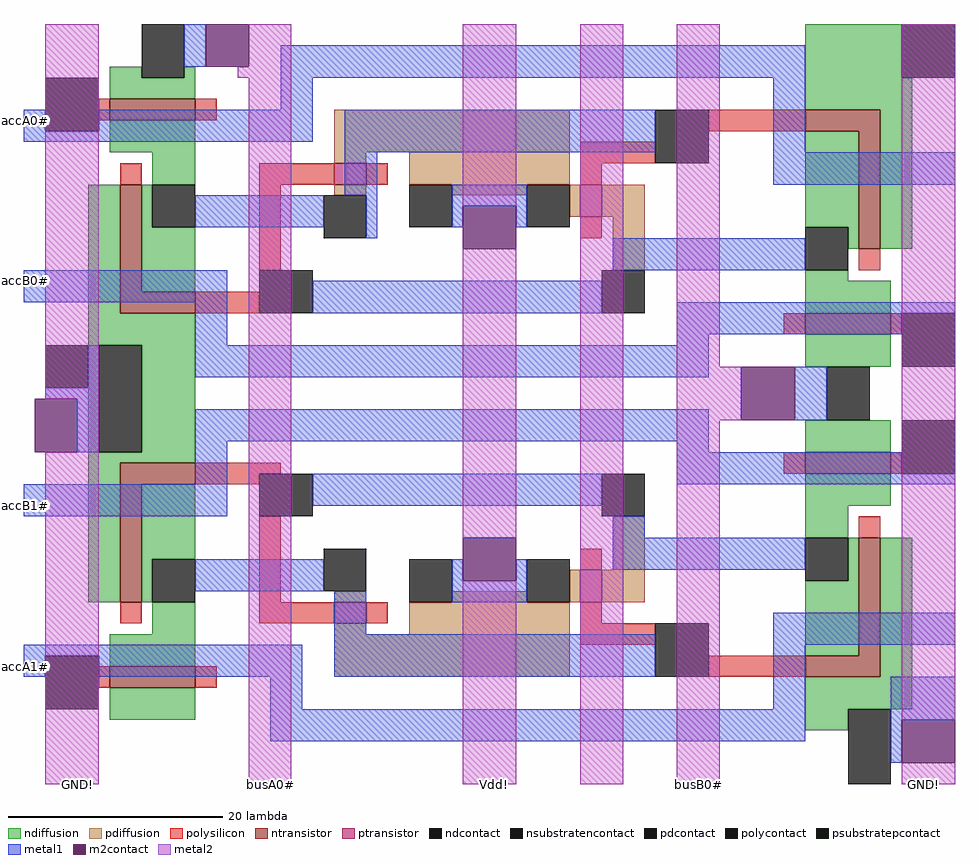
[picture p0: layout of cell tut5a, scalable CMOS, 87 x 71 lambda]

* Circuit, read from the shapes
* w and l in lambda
.subckt tut5a GND! Vdd! accA0# accA1# accB0# accB1# busA0# busB0#
M1 n1 accA1# n2 GND! nfet w=8 l=2
M2 busA0# accA0# n3 GND! nfet w=8 l=2
M3 GND! n4 n1 GND! nfet w=18 l=2
M4 GND! n5 n3 GND! nfet w=17 l=2
M5 GND! n1 n4 GND! nfet w=18 l=2
M6 busB0# accB1# n4 GND! nfet w=8 l=2
M7 n5 accB0# busB0# GND! nfet w=8 l=2
M8 GND! n3 n5 GND! nfet w=18 l=2
M9 n1 n4 Vdd! Vdd! pfet w=3 l=2
M10 Vdd! n5 n3 Vdd! pfet w=3 l=2
M11 n4 n1 Vdd! Vdd! pfet w=3 l=2
M12 n5 n3 Vdd! Vdd! pfet w=3 l=2
.ends

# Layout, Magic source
magic
tech scmos
<< polysilicon >>
rect 97 -18 98 -16
rect 106 -18 108 -16
rect 99 -24 101 -22
rect 112 -24 119 -22
rect 122 -24 124 -22
rect 142 -22 149 -20
rect 154 -19 163 -17
rect 142 -24 144 -22
rect 112 -32 114 -24
rect 142 -29 144 -27
rect 106 -36 112 -34
rect 168 -32 170 -30
rect 161 -38 163 -36
rect 171 -38 172 -36
rect 106 -51 114 -50
rect 161 -51 163 -49
rect 171 -51 172 -49
rect 106 -52 112 -51
rect 99 -65 101 -63
rect 112 -63 114 -55
rect 142 -60 144 -58
rect 168 -57 170 -55
rect 112 -65 119 -63
rect 122 -65 124 -63
rect 97 -71 98 -69
rect 106 -71 108 -69
rect 142 -65 144 -63
rect 142 -67 149 -65
rect 154 -70 163 -68
<< ndiffusion >>
rect 98 -14 101 -13
rect 105 -14 106 -13
rect 98 -16 106 -14
rect 163 -14 172 -9
rect 163 -17 173 -14
rect 98 -21 106 -18
rect 102 -24 106 -21
rect 96 -36 99 -24
rect 101 -28 102 -24
rect 101 -34 106 -28
rect 163 -28 168 -19
rect 167 -30 168 -28
rect 170 -30 173 -17
rect 163 -33 167 -32
rect 163 -36 171 -33
rect 96 -39 106 -36
rect 96 -49 97 -39
rect 101 -49 106 -39
rect 163 -41 171 -38
rect 163 -49 171 -46
rect 96 -50 106 -49
rect 96 -63 99 -50
rect 101 -59 106 -52
rect 101 -63 102 -59
rect 102 -66 106 -63
rect 163 -54 171 -51
rect 163 -57 167 -54
rect 167 -61 168 -57
rect 98 -69 106 -66
rect 163 -68 168 -61
rect 170 -70 173 -57
rect 98 -74 106 -71
rect 163 -73 173 -70
rect 163 -75 167 -73
<< pdiffusion >>
rect 119 -21 141 -17
rect 119 -22 122 -21
rect 126 -24 141 -21
rect 119 -25 122 -24
rect 130 -25 137 -24
rect 141 -27 142 -24
rect 144 -27 148 -24
rect 145 -32 148 -27
rect 119 -63 122 -62
rect 130 -63 137 -62
rect 145 -60 148 -55
rect 141 -63 142 -60
rect 144 -63 148 -60
rect 119 -66 122 -65
rect 126 -66 141 -63
rect 119 -70 141 -66
<< metal1 >>
rect 105 -13 107 -9
rect 114 -14 163 -11
rect 90 -19 92 -17
rect 114 -17 117 -14
rect 97 -19 117 -17
rect 90 -20 117 -19
rect 120 -21 149 -17
rect 120 -25 123 -21
rect 160 -21 163 -14
rect 160 -24 177 -21
rect 106 -28 118 -25
rect 122 -29 123 -25
rect 130 -26 137 -24
rect 130 -28 131 -26
rect 136 -28 137 -26
rect 145 -32 163 -29
rect 90 -35 109 -32
rect 106 -39 109 -35
rect 117 -36 144 -33
rect 151 -36 177 -35
rect 151 -38 172 -36
rect 151 -39 154 -38
rect 96 -43 97 -39
rect 92 -44 97 -43
rect 95 -49 97 -44
rect 106 -42 154 -39
rect 106 -48 154 -45
rect 162 -46 165 -41
rect 106 -52 109 -48
rect 151 -49 154 -48
rect 151 -51 172 -49
rect 90 -55 109 -52
rect 117 -54 144 -51
rect 151 -52 177 -51
rect 145 -57 148 -55
rect 106 -62 118 -59
rect 119 -66 122 -62
rect 130 -61 131 -59
rect 136 -61 137 -59
rect 130 -63 137 -61
rect 145 -60 163 -57
rect 90 -68 116 -67
rect 90 -70 92 -68
rect 97 -70 116 -68
rect 119 -70 149 -66
rect 160 -67 177 -64
rect 113 -73 116 -70
rect 160 -73 163 -67
rect 113 -76 163 -73
rect 171 -74 177 -70
rect 171 -78 172 -74
<< metal2 >>
rect 92 -44 97 -9
rect 111 -13 115 -9
rect 110 -14 115 -13
rect 95 -49 97 -44
rect 92 -80 97 -49
rect 111 -80 115 -14
rect 131 -26 136 -9
rect 131 -57 136 -30
rect 131 -80 136 -61
rect 142 -80 146 -9
rect 151 -41 155 -9
rect 151 -46 157 -41
rect 151 -80 155 -46
rect 172 -74 177 -9
rect 172 -80 177 -78
<< polycontact >>
rect 92 -19 97 -14
rect 149 -22 154 -17
rect 112 -36 117 -32
rect 172 -41 177 -36
rect 172 -51 177 -46
rect 112 -55 117 -51
rect 92 -73 97 -68
rect 149 -70 154 -65
<< ndcontact >>
rect 101 -14 105 -9
rect 102 -28 106 -24
rect 163 -32 167 -28
rect 97 -49 101 -39
rect 165 -46 169 -41
rect 102 -63 106 -59
rect 163 -61 167 -57
rect 167 -80 171 -73
<< pdcontact >>
rect 118 -29 122 -25
rect 137 -28 141 -24
rect 144 -36 148 -32
rect 144 -55 148 -51
rect 118 -62 122 -58
rect 137 -63 141 -59
<< m2contact >>
rect 107 -13 111 -9
rect 131 -30 136 -26
rect 91 -49 95 -44
rect 157 -46 162 -41
rect 131 -61 136 -57
rect 172 -78 177 -74
<< ntransistor >>
rect 98 -18 106 -16
rect 99 -34 101 -24
rect 163 -19 170 -17
rect 99 -36 106 -34
rect 168 -30 170 -19
rect 163 -38 171 -36
rect 99 -52 106 -50
rect 163 -51 171 -49
rect 99 -63 101 -52
rect 98 -71 106 -69
rect 168 -68 170 -57
rect 163 -70 170 -68
<< ptransistor >>
rect 119 -24 122 -22
rect 142 -27 144 -24
rect 142 -63 144 -60
rect 119 -65 122 -63
<< psubstratepcontact >>
rect 172 -14 177 -9
rect 92 -43 96 -39
<< nsubstratencontact >>
rect 126 -28 130 -24
rect 126 -63 130 -59
<< labels >>
rlabel metal2 153 -80 153 -80 1 busB0#
rlabel metal2 134 -80 134 -80 1 Vdd!
rlabel metal1 90 -54 90 -54 3 accB1#
rlabel metal1 90 -33 90 -33 3 accB0#
rlabel metal2 113 -80 113 -80 1 busA0#
rlabel metal2 95 -80 95 -80 2 GND!
rlabel metal1 90 -18 90 -18 3 accA0#
rlabel metal1 90 -69 90 -69 3 accA1#
rlabel metal2 174 -80 174 -80 1 GND!
<< end >>
